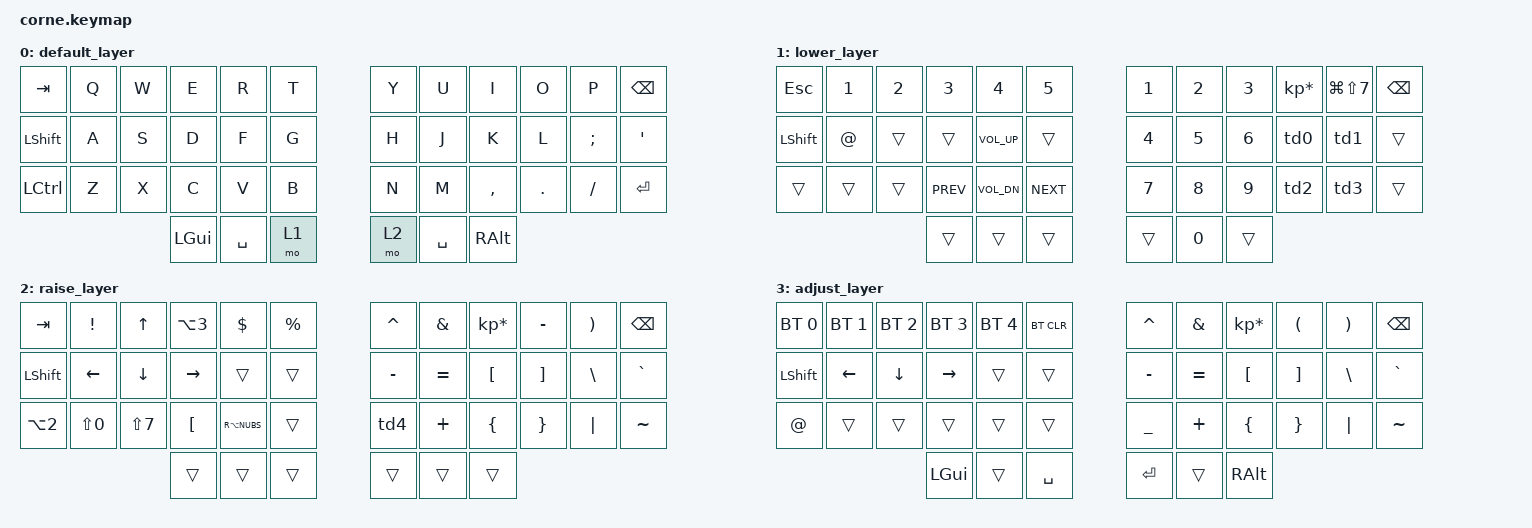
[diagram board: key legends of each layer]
/*
 * Copyright (c) 2020 The ZMK Contributors
 *
 * SPDX-License-Identifier: MIT
 */

#include <behaviors.dtsi>
#include <dt-bindings/zmk/keys.h>
#include <dt-bindings/zmk/bt.h>

/ {
        conditional_layers {
                compatible = "zmk,conditional-layers";
                tri_layer {
                        if-layers = <1 2>;
                        then-layer = <3>;
                };
        };

        behaviors {
                td0: tap_dance_0 {
                        compatible = "zmk,behavior-tap-dance";
                        label = "TAP_DANCE_0";
                        #binding-cells = <0>;
                        tapping-term-ms = <200>;
                        bindings = <&kp LS(N8)>, <&kp RA(SQT)>;
                };
                td1: tap_dance_1 {
                        compatible = "zmk,behavior-tap-dance";
                        label = "TAP_DANCE_1";
                        #binding-cells = <0>;
                        tapping-term-ms = <200>;
                        bindings = <&kp LS(N9)>, <&kp RA(BSLH)>;
                };
                td2: tap_dance_2 {
                        compatible = "zmk,behavior-tap-dance";
                        label = "TAP_DANCE_2";
                        #binding-cells = <0>;
                        tapping-term-ms = <200>;
                        bindings = <&kp RA(LBKT)>, <&kp GRAVE>;
                };
                td3: tap_dance_3 {
                        compatible = "zmk,behavior-tap-dance";
                        label = "TAP_DANCE_3";
                        #binding-cells = <0>;
                        tapping-term-ms = <200>;
                        bindings = <&kp RA(RBKT)>, <&kp LS(GRAVE)>;
                };
                td4: tap_dance_4 {
                        compatible = "zmk,behavior-tap-dance";
                        label = "QUESTION_MARKS";
                        #binding-cells = <0>;
                        tapping-term-ms = <200>;
                        bindings = <&kp UNDER>, <&kp PLUS>;
                };
        };

        keymap {
                compatible = "zmk,keymap";

                default_layer {
//  -----------------------------------------------------------------------------------------
//  |  TAB |  Q  |  W  |  E  |  R  |  T  |  ||  |  Y  |  U   |  I  |  O  |  P  | BKSP |
//  | SHFT |  A  |  S  |  D  |  F  |  G  |  ||  |  H  |  J   |  K  |  L  |  ;  |  '   |
//  | CTRL |  Z  |  X  |  C  |  V  |  B  |  ||  |  N  |  M   |  ,  |  .  |  /  | ENT  |
//                     | GUI | SPC | LWR |  ||  | RSE | SPC  | ALT |
                bindings = <
     &kp TAB &kp Q &kp W &kp E &kp R &kp T      &kp Y &kp U  &kp I     &kp O   &kp P    &kp BSPC
   &kp LSHFT &kp A &kp S &kp D &kp F &kp G      &kp H &kp J  &kp K     &kp L   &kp SEMI &kp SQT
   &kp LCTRL &kp Z &kp X &kp C &kp V &kp B      &kp N &kp M  &kp COMMA &kp DOT &kp FSLH &kp RET
                  &kp LGUI &kp SPACE &mo 1      &mo 2 &kp SPACE &kp RALT
                        >;
                };

                lower_layer {
        // -----------------------------------------------------------------------------------------
        //  |  ESC |  1  |  2  |  3  |  4  |  5  |  ||  |  1  |  2  |  3  |  *  |  // | BKSP |
        //  | SHFT |  "  |     |     | VUP |     |  ||  |  4  |  5  |  6  | td0 | td1 |      |
        //  |      |     |     | PREV| VDW | NEXT|  ||  |  7  |  8  |  9  | td2 | td3 |      |
        //                     | GUI | SPC | LWR |  ||  | RSE |  0  | ALT |
                bindings = <
     &kp ESC  &kp N1  &kp N2  &kp N3      &kp N4        &kp N5          &kp N1  &kp N2  &kp N3  &kp KP_MULTIPLY  &kp LG(LS(N7))  &kp BSPC
   &kp LSHFT  &kp AT  &trans  &trans      &kp K_VOL_UP  &trans          &kp N4  &kp N5  &kp N6  &td0  &td1  &trans
      &trans  &trans  &trans  &kp K_PREV  &kp K_VOL_DN  &kp K_NEXT      &kp N7  &kp N8  &kp N9  &td2  &td3  &trans
                                        &trans  &trans  &trans          &trans  &kp N0  &trans
                        >;
                };

                raise_layer {
        // -----------------------------------------------------------------------------------------
        // |  TAB |  !  |  UP |  #  |  $  |  %  |  ||  |  &  |  /  |  *  |  -  |  =  | BKSP |
        // | SHFT | LFT | DWN | RGT |     |     |  ||  |  '  |  ¡  |  `  |  +  |  ç  |  <   |
        // |   @  |  =  |  /  |  `  |  \  |     |  ||  |  ¿  |  ?  |  ^  |  *  |  Ç  |  >   |
        //                    | GUI |     | SPC |  ||  | ENT |     | ALT |
                bindings = <
          &kp TAB  &kp EXCL  &kp UP &kp LA(N3) &kp DLLR  &kp PRCNT      &kp CARET  &kp AMPS   &kp KP_MULTIPLY  &kp MINUS  &kp RPAR  &kp BSPC
          &kp LSHFT  &kp LEFT  &kp DOWN  &kp RIGHT  &trans  &trans      &kp MINUS  &kp EQUAL  &kp LBKT  &kp RBKT  &kp BSLH  &kp GRAVE
&kp LA(N2)  &kp LS(N0)  &kp LS(N7)  &kp LBKT  &kp RA(NUBS)  &trans      &td4       &kp PLUS  &kp LBRC &kp RBRC  &kp PIPE  &kp TILDE
                                            &trans  &trans  &trans      &trans     &trans     &trans
                        >;
                };

                adjust_layer {
        // -----------------------------------------------------------------------------------------
        // |  BT0 | BT1 | BT2 | BT3 | BT4 |BTCLR|  ||  |  ^  |  &  |  *  |  (  |  )  | BKSP |
        // | SHFT | LFT | DWN | RGT |     |     |  ||  |  -  |  =  |  [  |  ]  |  \  |  `   |
        // |   @  |     |     |     |     |     |  ||  |  _  |  +  |  {  |  }  | "|" |  ~   |
        //                    | GUI |     | SPC |  ||  | ENT |     | ALT |
                        bindings = <
   &bt BT_SEL 0 &bt BT_SEL 1 &bt BT_SEL 2 &bt BT_SEL 3 &bt BT_SEL 4 &bt BT_CLR          &kp CARET &kp AMPS  &kp KP_MULTIPLY &kp LPAR &kp RPAR &kp BSPC
                           &kp LSHFT &kp LEFT &kp DOWN &kp RIGHT &trans &trans          &kp MINUS &kp EQUAL &kp LBKT        &kp RBKT &kp BSLH &kp GRAVE
                              &kp AT  &trans   &trans &trans   &trans   &trans          &kp UNDER &kp PLUS  &kp LBRC        &kp RBRC &kp PIPE &kp TILDE
                                                     &kp LGUI &trans &kp SPACE          &kp RET   &trans    &kp RALT
                        >;
                };
        };
};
